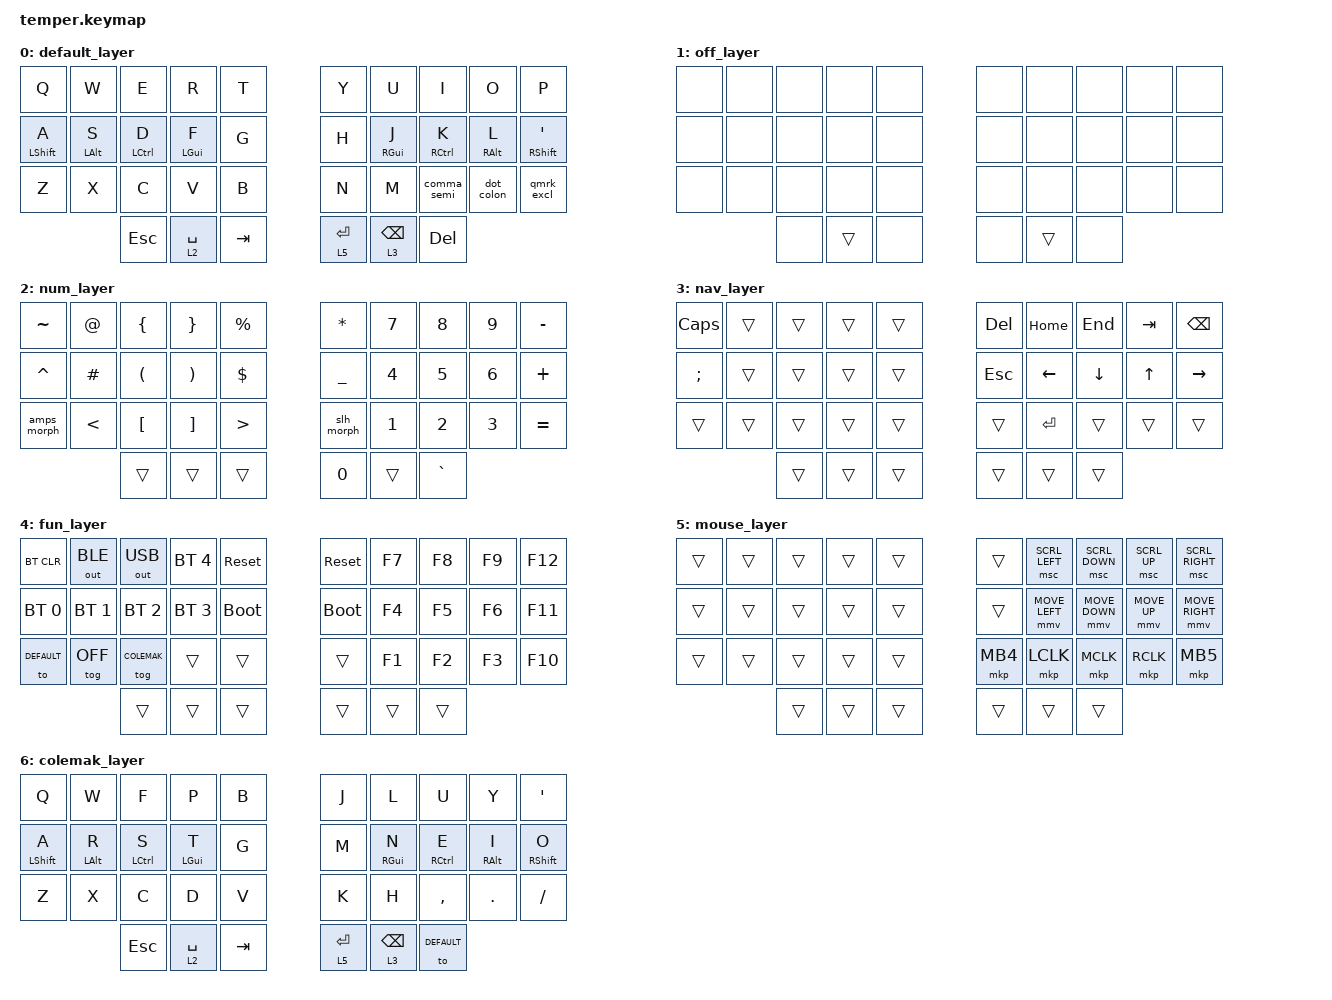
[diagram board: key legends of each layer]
/*
 * Copyright (c) 2020 The ZMK Contributors
 *
 * SPDX-License-Identifier: MIT
 */

#include <behaviors.dtsi>
#include <dt-bindings/zmk/keys.h>
#include <dt-bindings/zmk/bt.h>
#include <dt-bindings/zmk/outputs.h>
#include <dt-bindings/zmk/pointing.h>

#define DEFAULT 0
#define OFF 1
#define NUM 2
#define NAV 3
#define FUN 4
#define MOUSE 5
#define COLEMAK 6

# define ______ &trans

/ {
    conditional_layers {
        compatible = "zmk,conditional-layers";
        tri_layer {
            if-layers = <NUM NAV>;
            then-layer = <FUN>;
        };
    };

    behaviors {
        mt: mod_tap {
            compatible = "zmk,behavior-hold-tap";
            #binding-cells = <2>;
            flavor = "balanced";
            tapping-term-ms = <280>;
            quick-tap-ms = <175>;
            require-prior-idle-ms = <150>;
            bindings = <&kp>, <&kp>;
            hold-trigger-on-release;
            display-name = "Mod-Tap";
        };
        bspc_del: backspace_delete {
            compatible = "zmk,behavior-mod-morph";
            #binding-cells = <0>;
            bindings = <&kp BACKSPACE>, <&kp DELETE>;
            mods = <(MOD_LSFT|MOD_RSFT)>;
            keep-mods = <(MOD_RSFT)>;
        };
        super_bspc: super_backspace {
            compatible = "zmk,behavior-mod-morph";
            #binding-cells = <0>;
            bindings = <&kp BACKSPACE>, <&kp LA(BACKSPACE)>;
            mods = <(MOD_LSFT|MOD_RSFT)>;
        };
        smart_shft: smart_shift {
            compatible = "zmk,behavior-mod-morph";
            #binding-cells = <0>;
            bindings = <&kp LSHFT>, <&caps_word>;
            mods = <(MOD_LSFT)>;
        };
        comma_semi: comma_semi {
            compatible = "zmk,behavior-mod-morph";
            #binding-cells = <0>;
            bindings = <&kp COMMA>, <&kp SEMI>;
            mods = <(MOD_LSFT)>;
        };
        dot_colon: dot_colon {
            compatible = "zmk,behavior-mod-morph";
            #binding-cells = <0>;
            bindings = <&kp DOT>, <&kp COLON>;
            mods = <(MOD_LSFT)>;
        };
        qmrk_excl: qmrk_excl {
            compatible = "zmk,behavior-mod-morph";
            #binding-cells = <0>;
            bindings = <&kp QMARK>, <&kp EXCL>;
            mods = <(MOD_LSFT)>;
        };
        slh_morph: slh_morph {
            compatible = "zmk,behavior-mod-morph";
            #binding-cells = <0>;
            bindings = <&kp FSLH>, <&kp BSLH>;
            mods = <(MOD_LSFT)>;
        };
        amps_morph: amps_morph {
            compatible = "zmk,behavior-mod-morph";
            #binding-cells = <0>;
            bindings = <&kp AMPS>, <&kp PIPE>;
            mods = <(MOD_LSFT)>;
        };
    };

    combos {
        compatible = "zmk,combos";
        combo_undo {
            timeout-ms = <50>;
            key-positions = <20 21>;
            bindings = <&kp LG(Z)>;
        };
        combo_cut {
            timeout-ms = <50>;
            key-positions = <21 22>;
            bindings = <&kp LG(X)>;
        };
        combo_copy {
            timeout-ms = <50>;
            key-positions = <22 23>; 
            bindings = <&kp LG(C)>;
        };
        combo_paste {
            timeout-ms = <50>;
            key-positions = <23 24>; 
            bindings = <&kp LG(V)>;
        };
    };

        keymap {
                compatible = "zmk,keymap";

                default_layer {
                        bindings = <
// ╭─────────────┬─────────────┬─────────────┬─────────────┬─────────────╮   ╭─────────────┬─────────────┬─────────────┬─────────────┬─────────────╮
        &kp Q         &kp W         &kp E         &kp R         &kp T             &kp Y         &kp U         &kp I         &kp O         &kp P   
// ├─────────────┼─────────────┼─────────────┼─────────────┼─────────────┤   ├─────────────┼─────────────┼─────────────┼─────────────┼─────────────┤
     &mt LSHFT A   &mt LALT S    &mt LCTRL D    &mt LGUI F      &kp G             &kp H       &mt RGUI J   &mt RCTRL K   &mt RALT L   &mt RSHFT APOS 
// ├─────────────┼─────────────┼─────────────┼─────────────┼─────────────┤   ├─────────────┼─────────────┼─────────────┼─────────────┼─────────────┤
        &kp Z         &kp X         &kp C         &kp V         &kp B             &kp N         &kp M      &comma_semi    &dot_colon    &qmrk_excl
// ╰─────────────┴─────────────┼─────────────┼─────────────┼─────────────┤   ├─────────────┼─────────────┼─────────────┼─────────────┴─────────────╯
                                   &kp ESC     &lt 2 SPACE     &kp TAB           &lt 5 RET    &lt 3 BSPC     &kp DEL
//                             ╰─────────────┴─────────────┴─────────────╯   ╰─────────────┴─────────────┴─────────────╯
                        >;
                };

                off_layer {
                        bindings = <
// ╭─────────────┬─────────────┬─────────────┬─────────────┬─────────────╮   ╭─────────────┬─────────────┬─────────────┬─────────────┬─────────────╮
        &none         &none         &none         &none         &none             &none         &none         &none         &none         &none  
// ├─────────────┼─────────────┼─────────────┼─────────────┼─────────────┤   ├─────────────┼─────────────┼─────────────┼─────────────┼─────────────┤
        &none         &none         &none         &none         &none             &none         &none         &none         &none         &none
// ├─────────────┼─────────────┼─────────────┼─────────────┼─────────────┤   ├─────────────┼─────────────┼─────────────┼─────────────┼─────────────┤
        &none         &none         &none         &none         &none             &none         &none         &none         &none         &none
// ╰─────────────┴─────────────┼─────────────┼─────────────┼─────────────┤   ├─────────────┼─── ──────────┼─────────────┼─────────────┴────────────╯
                                    &none         ______         &none             &none        ______         &none
//                             ╰─────────────┴─────────────┴─────────────╯   ╰─────────────┴─────────────┴──────────────╯
                        >;
                };
                num_layer {
                        bindings = <
// ╭─────────────┬─────────────┬─────────────┬─────────────┬─────────────╮   ╭─────────────┬─────────────┬─────────────┬─────────────┬─────────────╮
      &kp TILDE       &kp AT       &kp LBRC      &kp RBRC     &kp PRCNT          &kp STAR       &kp N7        &kp N8        &kp N9      &kp MINUS
// ├─────────────┼─────────────┼─────────────┼─────────────┼─────────────┤   ├─────────────┼─────────────┼─────────────┼─────────────┼─────────────┤
      &kp CARET      &kp HASH      &kp LPAR      &kp RPAR      &kp DLLR         &kp UNDER       &kp N4        &kp N5        &kp N6      &kp PLUS
// ├─────────────┼─────────────┼─────────────┼─────────────┼─────────────┤   ├─────────────┼─────────────┼─────────────┼─────────────┼─────────────┤
      &amps_morph     &kp LT       &kp LBKT      &kp RBKT       &kp GT          &slh_morph      &kp N1        &kp N2        &kp N3      &kp EQUAL
// ╰─────────────┴─────────────┼─────────────┼─────────────┼─────────────┤   ├─────────────┼─────────────┼─────────────┼─────────────┴─────────────╯
                                    ______        ______        ______            &kp N0        ______      &kp GRAVE
//                             ╰─────────────┴─────────────┴─────────────╯   ╰─────────────┴─────────────┴─────────────╯
                        >;
                };

                nav_layer {
                        bindings = <
// ╭─────────────┬─────────────┬─────────────┬─────────────┬─────────────╮   ╭─────────────┬─────────────┬─────────────┬─────────────┬─────────────╮
       &kp CAPS       ______        ______        ______        ______           &kp DEL       &kp HOME      &kp END       &kp TAB      &kp BSPC
// ├─────────────┼─────────────┼─────────────┼─────────────┼─────────────┤   ├─────────────┼─────────────┼─────────────┼─────────────┼─────────────┤
       &kp SEMI        ______        ______        ______        ______          &kp ESC       &kp LEFT      &kp DOWN      &kp UP       &kp RIGHT
// ├─────────────┼─────────────┼─────────────┼─────────────┼─────────────┤   ├─────────────┼─────────────┼─────────────┼─────────────┼─────────────┤
        ______        ______        ______        ______        ______            ______       &kp RET       ______        ______        ______
// ╰─────────────┴─────────────┼─────────────┼─────────────┼─────────────┤   ├─────────────┼─────────────┼─────────────┼─────────────┴─────────────╯
                                    ______        ______        ______            ______        ______        ______
//                             ╰─────────────┴─────────────┴─────────────╯   ╰─────────────┴─────────────┴─────────────╯
                        >;
                };

                fun_layer {
                        bindings = <
// ╭─────────────┬─────────────┬─────────────┬─────────────┬─────────────╮   ╭─────────────┬─────────────┬─────────────┬─────────────┬─────────────╮
      &bt BT_CLR   &out OUT_BLE  &out OUT_USB  &bt BT_SEL 4  &sys_reset        &sys_reset       &kp F7        &kp F8        &kp F9       &kp F12
// ├─────────────┼─────────────┼─────────────┼─────────────┼─────────────┤   ├─────────────┼─────────────┼─────────────┼─────────────┼─────────────┤
     &bt BT_SEL 0  &bt BT_SEL 1  &bt BT_SEL 2  &bt BT_SEL 3  &bootloader       &bootloader      &kp F4        &kp F5        &kp F6       &kp F11
// ├─────────────┼─────────────┼─────────────┼─────────────┼─────────────┤   ├─────────────┼─────────────┼─────────────┼─────────────┼─────────────┤
     &to DEFAULT    &tog OFF    &tog COLEMAK      ______        ______            ______        &kp F1        &kp F2        &kp F3       &kp F10
// ╰─────────────┴─────────────┼─────────────┼─────────────┼─────────────┤   ├─────────────┼─────────────┼─────────────┼─────────────┴─────────────╯
                                    ______        ______        ______            ______        ______        ______
//                             ╰─────────────┴─────────────┴─────────────╯   ╰─────────────┴─────────────┴─────────────╯
                        >;
                };

                mouse_layer {
                        bindings = <
// ╭─────────────┬─────────────┬─────────────┬─────────────┬─────────────╮   ╭─────────────┬─────────────┬─────────────┬─────────────┬─────────────╮
        ______        ______        ______        ______        ______            ______   &msc SCRL_LEFT &msc SCRL_DOWN &msc SCRL_UP &msc SCRL_RIGHT
// ├─────────────┼─────────────┼─────────────┼─────────────┼─────────────┤   ├─────────────┼─────────────┼─────────────┼─────────────┼─────────────┤
        ______        ______        ______        ______        ______            ______   &mmv MOVE_LEFT &mmv MOVE_DOWN &mmv MOVE_UP &mmv MOVE_RIGHT
// ├─────────────┼─────────────┼─────────────┼─────────────┼─────────────┤   ├─────────────┼─────────────┼─────────────┼─────────────┼─────────────┤
        ______        ______        ______        ______        ______          &mkp MB4      &mkp LCLK     &mkp MCLK     &mkp RCLK     &mkp MB5
// ╰─────────────┴─────────────┼─────────────┼─────────────┼─────────────┤   ├─────────────┼─────────────┼─────────────┼─────────────┴─────────────╯
                                    ______        ______        ______            ______        ______        ______
//                             ╰─────────────┴─────────────┴─────────────╯   ╰─────────────┴─────────────┴─────────────╯
                        >;
                };

                colemak_layer {
                        bindings = <
// ╭─────────────┬─────────────┬─────────────┬─────────────┬─────────────╮   ╭─────────────┬─────────────┬─────────────┬─────────────┬─────────────╮
        &kp Q         &kp W         &kp F         &kp P         &kp B             &kp J         &kp L         &kp U         &kp Y        &kp APOS   
// ├─────────────┼─────────────┼─────────────┼─────────────┼─────────────┤   ├─────────────┼─────────────┼─────────────┼─────────────┼─────────────┤
     &mt LSHFT A   &mt LALT R    &mt LCTRL S    &mt LGUI T      &kp G             &kp M       &mt RGUI N   &mt RCTRL E   &mt RALT I    &mt RSHFT O 
// ├─────────────┼─────────────┼─────────────┼─────────────┼─────────────┤   ├─────────────┼─────────────┼─────────────┼─────────────┼─────────────┤
        &kp Z         &kp X         &kp C         &kp D         &kp V             &kp K         &kp H        &kp COMMA     &kp DOT       &kp FSLH
// ╰─────────────┴─────────────┼─────────────┼─────────────┼─────────────┤   ├─────────────┼─────────────┼─────────────┼─────────────┴─────────────╯
                                   &kp ESC     &lt 2 SPACE     &kp TAB           &lt 5 RET    &lt 3 BSPC   &to DEFAULT
//                             ╰─────────────┴─────────────┴─────────────╯   ╰─────────────┴─────────────┴─────────────╯
                        >;
                };
        };
};
